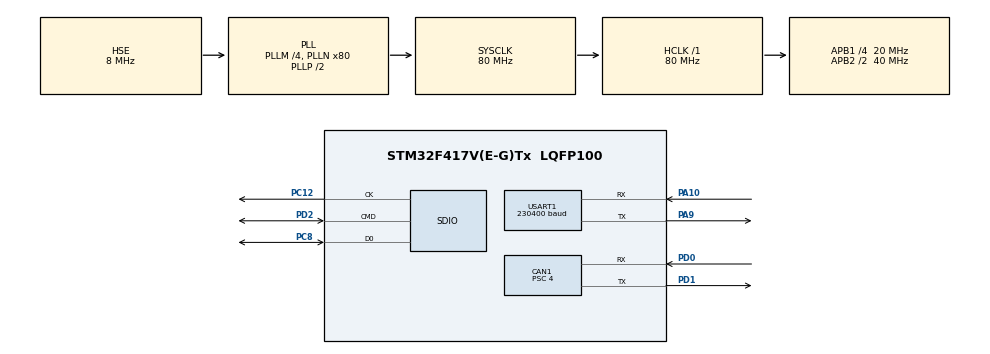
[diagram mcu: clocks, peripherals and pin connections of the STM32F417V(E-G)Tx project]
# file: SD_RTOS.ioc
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CAN1.BS1=CAN_BS1_8TQ
CAN1.CalculateBaudRate=500000
CAN1.CalculateTimeBit=2000
CAN1.CalculateTimeQuantum=200.0
CAN1.Prescaler=4
Dma.Request0=SDIO_RX
Dma.Request1=SDIO_TX
Dma.SDIO_RX.0.Direction=DMA_PERIPH_TO_MEMORY
Dma.SDIO_RX.0.FIFOMode=DMA_FIFOMODE_ENABLE
Dma.SDIO_RX.0.FIFOThreshold=DMA_FIFO_THRESHOLD_FULL
Dma.SDIO_RX.0.Instance=DMA2_Stream3
Dma.SDIO_RX.0.MemBurst=DMA_MBURST_INC4
Dma.SDIO_RX.0.MemDataAlignment=DMA_MDATAALIGN_WORD
Dma.SDIO_RX.0.MemInc=DMA_MINC_ENABLE
Dma.SDIO_RX.0.Mode=DMA_PFCTRL
Dma.SDIO_RX.0.PeriphBurst=DMA_PBURST_INC4
Dma.SDIO_RX.0.PeriphDataAlignment=DMA_PDATAALIGN_WORD
Dma.SDIO_RX.0.PeriphInc=DMA_PINC_DISABLE
Dma.SDIO_RX.0.Priority=DMA_PRIORITY_LOW
Dma.SDIO_TX.1.Direction=DMA_MEMORY_TO_PERIPH
Dma.SDIO_TX.1.FIFOMode=DMA_FIFOMODE_ENABLE
Dma.SDIO_TX.1.FIFOThreshold=DMA_FIFO_THRESHOLD_FULL
Dma.SDIO_TX.1.Instance=DMA2_Stream6
Dma.SDIO_TX.1.MemBurst=DMA_MBURST_INC4
Dma.SDIO_TX.1.MemDataAlignment=DMA_MDATAALIGN_WORD
Dma.SDIO_TX.1.MemInc=DMA_MINC_ENABLE
Dma.SDIO_TX.1.Mode=DMA_PFCTRL
Dma.SDIO_TX.1.PeriphBurst=DMA_PBURST_INC4
Dma.SDIO_TX.1.PeriphDataAlignment=DMA_PDATAALIGN_WORD
Dma.SDIO_TX.1.PeriphInc=DMA_PINC_DISABLE
Dma.SDIO_TX.1.Priority=DMA_PRIORITY_LOW
FATFS._FS_NORTC=1
FATFS._MAX_SS=512
FATFS._NORTC_YEAR=2024
FREERTOS.Tasks01=defaultTask,3,1024,StartDefaultTask,Default,NULL,Dynamic,NULL,NULL
FREERTOS.configTOTAL_HEAP_SIZE=100000
FREERTOS.configUSE_NEWLIB_REENTRANT=1
Mcu.Family=STM32F4
Mcu.Name=STM32F417V(E-G)Tx
Mcu.Package=LQFP100
NVIC.CAN1_RX0_IRQn=true\:5\:0\:false\:false\:true\:true\:true\:true\:true
NVIC.CAN1_RX1_IRQn=true\:5\:0\:false\:false\:true\:true\:true\:true\:true
NVIC.CAN1_SCE_IRQn=true\:5\:0\:false\:false\:true\:true\:true\:true\:true
NVIC.CAN1_TX_IRQn=true\:5\:0\:false\:false\:true\:true\:true\:true\:true
NVIC.DMA2_Stream3_IRQn=true\:5\:0\:false\:false\:true\:true\:false\:true\:true
NVIC.DMA2_Stream6_IRQn=true\:5\:0\:false\:false\:true\:true\:false\:true\:true
NVIC.PriorityGroup=NVIC_PRIORITYGROUP_4
NVIC.SDIO_IRQn=true\:5\:0\:false\:false\:true\:true\:true\:true\:true
PA10.Mode=Asynchronous
PA10.Signal=USART1_RX
PA9.Mode=Asynchronous
PA9.Signal=USART1_TX
PC12.Mode=SD_1_bit
PC12.Signal=SDIO_CK
PC8.Mode=SD_1_bit
PC8.Signal=SDIO_D0
PD0.Mode=CAN_Activate
PD0.Signal=CAN1_RX
PD1.Mode=CAN_Activate
PD1.Signal=CAN1_TX
PD2.Mode=SD_1_bit
PD2.Signal=SDIO_CMD
PH0-OSC_IN.Mode=HSE-External-Oscillator
PH0-OSC_IN.Signal=RCC_OSC_IN
PH1-OSC_OUT.Mode=HSE-External-Oscillator
PH1-OSC_OUT.Signal=RCC_OSC_OUT
ProjectManager.HeapSize=0x200
ProjectManager.StackSize=0x400
ProjectManager.TargetToolchain=STM32CubeIDE
RCC.48MHZClocksFreq_Value=40000000
RCC.AHBFreq_Value=80000000
RCC.APB1CLKDivider=RCC_HCLK_DIV4
RCC.APB1Freq_Value=20000000
RCC.APB1TimFreq_Value=40000000
RCC.APB2CLKDivider=RCC_HCLK_DIV2
RCC.APB2Freq_Value=40000000
RCC.APB2TimFreq_Value=80000000
RCC.CortexFreq_Value=80000000
RCC.HCLKFreq_Value=80000000
RCC.HSE_VALUE=8000000
RCC.HSI_VALUE=16000000
RCC.LSE_VALUE=32768
RCC.PLLM=4
RCC.PLLN=80
RCC.PLLSourceVirtual=RCC_PLLSOURCE_HSE
RCC.SYSCLKFreq_VALUE=80000000
RCC.SYSCLKSource=RCC_SYSCLKSOURCE_PLLCLK
RCC.VCOOutputFreq_Value=160000000
SDIO.ClockDiv=0
USART1.BaudRate=230400
USART1.VirtualMode=VM_ASYNC
VP_FATFS_VS_SDIO.Mode=SDIO
VP_FREERTOS_VS_CMSIS_V1.Mode=CMSIS_V1
board=custom

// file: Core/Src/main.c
/* USER CODE BEGIN Header */
/**
  ******************************************************************************
  * @file           : main.c
  * @brief          : Main program body
  ******************************************************************************
  * @attention
  *
  * Copyright (c) 2024 STMicroelectronics.
  * All rights reserved.
  *
  * This software is licensed under terms that can be found in the LICENSE file
  * in the root directory of this software component.
  * If no LICENSE file comes with this software, it is provided AS-IS.
  *
  ******************************************************************************
  */
/* USER CODE END Header */
#include "main.h"
#include "cmsis_os.h"
#include "fatfs.h"

/* USER CODE BEGIN Includes */
#include "File_Handling.h"
/* USER CODE END Includes */

CAN_HandleTypeDef hcan1;

SD_HandleTypeDef hsd;
DMA_HandleTypeDef hdma_sdio_rx;
DMA_HandleTypeDef hdma_sdio_tx;

UART_HandleTypeDef huart1;

osThreadId defaultTaskHandle;

void SystemClock_Config(void);
static void MX_GPIO_Init(void);
static void MX_DMA_Init(void);
static void MX_CAN1_Init(void);
static void MX_SDIO_SD_Init(void);
static void MX_USART1_UART_Init(void);
void StartDefaultTask(void const * argument);

/* USER CODE BEGIN PFP */

typedef struct {
	uint32_t id;
	uint8_t data[8];
} CanMsg;
/* USER CODE END PFP */

/* USER CODE BEGIN 0 */
void configCANFilters(CAN_HandleTypeDef* canHandle){	//Without filtered any CAN msgs

    CAN_FilterTypeDef sFilterConfig;

    // Configure the filter to accept all messages
    sFilterConfig.FilterMode = CAN_FILTERMODE_IDMASK;
    sFilterConfig.FilterScale = CAN_FILTERSCALE_32BIT;
    sFilterConfig.FilterIdHigh = 0x0000;
    sFilterConfig.FilterIdLow = 0x0000;
    sFilterConfig.FilterMaskIdHigh = 0x0000;
    sFilterConfig.FilterMaskIdLow = 0x0000;
    sFilterConfig.FilterFIFOAssignment = 0;
    sFilterConfig.FilterActivation = ENABLE;
    sFilterConfig.FilterBank = 0;  // Use filter bank 0

    // From the reference manual, it seems that setting SlaveStartFilterBank to 0 means all filters are used for the enabled CAN peripheral
    // TODO: Verify this is the correct config
    sFilterConfig.SlaveStartFilterBank = 0;

    if (HAL_CAN_ConfigFilter(canHandle, &sFilterConfig) != HAL_OK)
    {
        Error_Handler();
    }
}

volatile int32_t fifo0=0;
volatile int32_t fifo1=0;
char globalmsg[128];	//transfer msgs to string
int msg_len;
TickType_t failed = 0;
uint32_t failedNum = 0;

QueueHandle_t CanMsgQueue;
CanMsg fifoTmp;

void HAL_CAN_RxFifo0MsgPendingCallback(CAN_HandleTypeDef *hcan)
{
    CAN_RxHeaderTypeDef   RxHeader;
    uint8_t               RxData[8];

    if (HAL_CAN_GetRxMessage(hcan, CAN_RX_FIFO0, &RxHeader, RxData) == HAL_OK)
    {
    	fifo0++;
    	fifo1++;
		fifoTmp.id = RxHeader.ExtId;
		memcpy(fifoTmp.data, RxData, 8*sizeof(uint8_t));
		if (xQueueSendToBackFromISR(CanMsgQueue, &fifoTmp, NULL) != pdTRUE)
		{
			if (failed == 0)
			{
				failed = xTaskGetTickCountFromISR();
				failedNum =fifo0;
			}
//			msg_len = snprintf(globalmsg, "f: %lu\n", failed);
//	        HAL_UART_Transmit(&huart1, globalmsg, msg_len, 100);
		}
    }
    else {
        uint8_t msg[] = "Failed to receive CAN message from FIFO0\n";
        HAL_UART_Transmit(&huart1, msg, sizeof(msg), 100);
        // handleError();
    }

    /*
        This check is essential as it was causing issues with our brake light flashing and our button presses were getting random values.
        The cause is the motor controllers who send messages with standard ID lengths. So since we are passing in RxHeader.ExtId
        the data that was being received changed but the id did not so it would call the callback of the last extended message that was processed.
        This is why we would get brake light values of 255 and button presses with multiple bits high even though that is impossible from our code.
        Props to Joseph Borromeo for squashing this 5 year old bug
    */
    // if (RxHeader.IDE == CAN_ID_EXT){  // Only parse data if it is an extended CAN frame
    //         // if (parseCANData(RxHeader.ExtId, RxData) != HAL_OK) {
    //         //     /*ERROR_PRINT_ISR("Failed to parse CAN message id 0x%lX", RxHeader.ExtId);*/
    //         // }
    // }
}

//Currently not used (we use FIFO0)
void HAL_CAN_RxFifo1MsgPendingCallback(CAN_HandleTypeDef *hcan)
{
	fifo1++;
    CAN_RxHeaderTypeDef   RxHeader;
    uint8_t               RxData[8];

    if (HAL_CAN_GetRxMessage(hcan, CAN_RX_FIFO1, &RxHeader, RxData) != HAL_OK)
    {
        uint8_t msg[] = "Failed to receive CAN message from FIFO1\n";
        HAL_UART_Transmit(&huart1, msg, sizeof(msg), 100);
        // handleError();
    }

    // if (RxHeader.IDE == CAN_ID_EXT){  // Only parse data if it is an extended CAN frame
    //         if (parseCANData(RxHeader.ExtId, RxData) != HAL_OK) {
    //             /*ERROR_PRINT_ISR("Failed to parse CAN message id 0x%lX", RxHeader.ExtId);*/
    //         }
    // }
}
/* USER CODE END 0 */

int main(void)
{

  /* MCU Configuration--------------------------------------------------------*/

  /* Reset of all peripherals, Initializes the Flash interface and the Systick. */
  HAL_Init();

  /* Configure the system clock */
  SystemClock_Config();

  /* Initialize all configured peripherals */
  MX_GPIO_Init();
  MX_DMA_Init();
  MX_CAN1_Init();
  MX_SDIO_SD_Init();
  MX_USART1_UART_Init();
  MX_FATFS_Init();
  /* USER CODE BEGIN 2 */

//   CanMsgQueue = xQueueCreate(2500, sizeof(CanMsg)); // Good to 60%
  CanMsgQueue = xQueueCreate(7000, sizeof(CanMsg)); // Good to 72%

  /* USER CODE END 2 */

  /* Create the thread(s) */
  /* definition and creation of defaultTask */
  osThreadDef(defaultTask, StartDefaultTask, osPriorityRealtime, 0, 1024);
  defaultTaskHandle = osThreadCreate(osThread(defaultTask), NULL);

  /* Start scheduler */
  osKernelStart();

  /* We should never get here as control is now taken by the scheduler */
  /* Infinite loop */
  while (1) {

  }
}

void SystemClock_Config(void)
{
  RCC_OscInitTypeDef RCC_OscInitStruct = {0};
  RCC_ClkInitTypeDef RCC_ClkInitStruct = {0};

  /** Configure the main internal regulator output voltage
  */
  __HAL_RCC_PWR_CLK_ENABLE();
  __HAL_PWR_VOLTAGESCALING_CONFIG(PWR_REGULATOR_VOLTAGE_SCALE1);

  /** Initializes the RCC Oscillators according to the specified parameters
  * in the RCC_OscInitTypeDef structure.
  */
  RCC_OscInitStruct.OscillatorType = RCC_OSCILLATORTYPE_HSE;
  RCC_OscInitStruct.HSEState = RCC_HSE_ON;
  RCC_OscInitStruct.PLL.PLLState = RCC_PLL_ON;
  RCC_OscInitStruct.PLL.PLLSource = RCC_PLLSOURCE_HSE;
  RCC_OscInitStruct.PLL.PLLM = 4;
  RCC_OscInitStruct.PLL.PLLN = 80;
  RCC_OscInitStruct.PLL.PLLP = RCC_PLLP_DIV2;
  RCC_OscInitStruct.PLL.PLLQ = 4;
  if (HAL_RCC_OscConfig(&RCC_OscInitStruct) != HAL_OK)
  {
    Error_Handler();
  }

  /** Initializes the CPU, AHB and APB buses clocks
  */
  RCC_ClkInitStruct.ClockType = RCC_CLOCKTYPE_HCLK|RCC_CLOCKTYPE_SYSCLK
                              |RCC_CLOCKTYPE_PCLK1|RCC_CLOCKTYPE_PCLK2;
  RCC_ClkInitStruct.SYSCLKSource = RCC_SYSCLKSOURCE_PLLCLK;
  RCC_ClkInitStruct.AHBCLKDivider = RCC_SYSCLK_DIV1;
  RCC_ClkInitStruct.APB1CLKDivider = RCC_HCLK_DIV4;
  RCC_ClkInitStruct.APB2CLKDivider = RCC_HCLK_DIV2;

  if (HAL_RCC_ClockConfig(&RCC_ClkInitStruct, FLASH_LATENCY_2) != HAL_OK)
  {
    Error_Handler();
  }
}

static void MX_CAN1_Init(void)
{

  hcan1.Instance = CAN1;
  hcan1.Init.Prescaler = 4;
  hcan1.Init.Mode = CAN_MODE_NORMAL;
  hcan1.Init.SyncJumpWidth = CAN_SJW_1TQ;
  hcan1.Init.TimeSeg1 = CAN_BS1_8TQ;
  hcan1.Init.TimeSeg2 = CAN_BS2_1TQ;
  hcan1.Init.TimeTriggeredMode = DISABLE;
  hcan1.Init.AutoBusOff = DISABLE;
  hcan1.Init.AutoWakeUp = DISABLE;
  hcan1.Init.AutoRetransmission = DISABLE;
  hcan1.Init.ReceiveFifoLocked = DISABLE;
  hcan1.Init.TransmitFifoPriority = DISABLE;
  if (HAL_CAN_Init(&hcan1) != HAL_OK)
  {
    Error_Handler();
  }

}

static void MX_SDIO_SD_Init(void)
{

  hsd.Instance = SDIO;
  hsd.Init.ClockEdge = SDIO_CLOCK_EDGE_RISING;
  hsd.Init.ClockBypass = SDIO_CLOCK_BYPASS_DISABLE;
  hsd.Init.ClockPowerSave = SDIO_CLOCK_POWER_SAVE_DISABLE;
  hsd.Init.BusWide = SDIO_BUS_WIDE_1B;
  hsd.Init.HardwareFlowControl = SDIO_HARDWARE_FLOW_CONTROL_DISABLE;
  hsd.Init.ClockDiv = 0;
  /* USER CODE BEGIN SDIO_Init 2 */
  if (HAL_SD_Init(&hsd) != HAL_OK)
  {
    Error_Handler();
  }
  if (HAL_SD_ConfigWideBusOperation(&hsd, SDIO_BUS_WIDE_4B) != HAL_OK)
  {
    Error_Handler();
  }
  /* USER CODE END SDIO_Init 2 */

}

static void MX_USART1_UART_Init(void)
{

  huart1.Instance = USART1;
  huart1.Init.BaudRate = 230400;
  huart1.Init.WordLength = UART_WORDLENGTH_8B;
  huart1.Init.StopBits = UART_STOPBITS_1;
  huart1.Init.Parity = UART_PARITY_NONE;
  huart1.Init.Mode = UART_MODE_TX_RX;
  huart1.Init.HwFlowCtl = UART_HWCONTROL_NONE;
  huart1.Init.OverSampling = UART_OVERSAMPLING_16;
  if (HAL_UART_Init(&huart1) != HAL_OK)
  {
    Error_Handler();
  }

}

static void MX_DMA_Init(void)
{

  /* DMA controller clock enable */
  __HAL_RCC_DMA2_CLK_ENABLE();

  /* DMA interrupt init */
  /* DMA2_Stream3_IRQn interrupt configuration */
  HAL_NVIC_SetPriority(DMA2_Stream3_IRQn, 5, 0);
  HAL_NVIC_EnableIRQ(DMA2_Stream3_IRQn);
  /* DMA2_Stream6_IRQn interrupt configuration */
  HAL_NVIC_SetPriority(DMA2_Stream6_IRQn, 5, 0);
  HAL_NVIC_EnableIRQ(DMA2_Stream6_IRQn);

}

static void MX_GPIO_Init(void)
{

  /* GPIO Ports Clock Enable */
  __HAL_RCC_GPIOH_CLK_ENABLE();
  __HAL_RCC_GPIOC_CLK_ENABLE();
  __HAL_RCC_GPIOA_CLK_ENABLE();
  __HAL_RCC_GPIOD_CLK_ENABLE();

}

void StartDefaultTask(void const * argument)
{
  /* USER CODE BEGIN 5 */
  // file names might be all caps even if not set to be so, see:
  // https://superuser.com/questions/1297658/folder-names-become-uppercase-when-syncing-to-fat32-drive
  if( CanMsgQueue == NULL )
  {
	  while(1)
	  {
		  uint8_t msg[] = "canmsgqueue failed\r\n";
		  HAL_UART_Transmit(&huart1, msg, sizeof(msg), 100);
	  }
  }
  else
  {
	  uint8_t msg1[] = "queue good\r\n";
	  HAL_UART_Transmit(&huart1, msg1, sizeof(msg1), 100);
  }

  uint8_t reminder[] = "Is SD card in?\n";
  HAL_UART_Transmit(&huart1, reminder, sizeof(reminder), 100);

  Mount_SD("/");

  // this loop avoids filename collisions
  FRESULT res = FR_INVALID_NAME;
  uint8_t fileidx = 0;
  char filename[16];
  CanMsg rxMsg;
  const uint16_t buffSize = 3000; // 72% busload for 3.5 mins (520k messages, 2 repro), 68% busload for 4 mins, 87% busload for 2 mins (360k messages, 2 repro)
  uint8_t buffer[buffSize];
  memset(buffer, 0, buffSize*sizeof(uint8_t));
  const uint8_t logging_line_len = 34;

  while (res == FR_INVALID_NAME) {
	  sprintf(filename, "LOGS%d.TXT", (int) fileidx);
	  res = Create_File(filename);
	  fileidx++;
  }

  HAL_UART_Transmit(&huart1, filename, sizeof(filename), 100);

  uint8_t debug[100];
  configCANFilters(&hcan1);
  if (HAL_CAN_Start(&hcan1) != HAL_OK) {
	 uint8_t msg[] = "Failed to start CAN!\n";
	 HAL_UART_Transmit(&huart1, msg, sizeof(msg), 100);
	 while (1);
   }

   if (HAL_CAN_ActivateNotification(&hcan1, CAN_IT_RX_FIFO0_MSG_PENDING) != HAL_OK)
   {
	 uint8_t msg[] = "Error starting to listen for CAN msgs from FIFO0\n";
	 HAL_UART_Transmit(&huart1, msg, sizeof(msg), 100);
	 while (1);
   }

   if (HAL_CAN_ActivateNotification(&hcan1, CAN_IT_RX_FIFO1_MSG_PENDING) != HAL_OK)
   {
	 uint8_t msg[] = "Error starting to listen for CAN msgs from FIFO0\n";
	 HAL_UART_Transmit(&huart1, msg, sizeof(msg), 100);
	 while (1);
   }

  /* Infinite loop */
  for(;;)
  {
	  for (uint16_t loop = 0; loop < buffSize/logging_line_len; loop++)
	  {
		  if (xQueueReceive(CanMsgQueue, &rxMsg, 100) == pdTRUE)
		  {
			  sprintf(&buffer[loop*logging_line_len], "%08lXx%08lX%02X%02X%02X%02X%02X%02X%02X%02X\n", xTaskGetTickCount(), rxMsg.id, rxMsg.data[0], rxMsg.data[1], rxMsg.data[2], rxMsg.data[3], rxMsg.data[4], rxMsg.data[5], rxMsg.data[6], rxMsg.data[7]);
			  fifo1--;
		  }
		  else
		  {
			  sprintf(debug, "Q Empty %u\n", loop);
			  HAL_UART_Transmit(&huart1, debug, strlen(debug), 100);
			  break;
		  }
	  }
	  Update_File(filename, buffer);
	  if (failed != 0)
	  {
		  sprintf(debug, "failed: %lu %lu\r\n", failed, failedNum);
		  HAL_UART_Transmit(&huart1, debug, strlen(debug), 100);
	  }
	  sprintf(debug, "can: %ld %ld\r\n", fifo0, fifo1);
	  HAL_UART_Transmit(&huart1, debug, strlen(debug), 100);

  }

  Unmount_SD("/");
  /* USER CODE END 5 */
}

void Error_Handler(void)
{
  __disable_irq();
  while (1)
  {
  }
}
